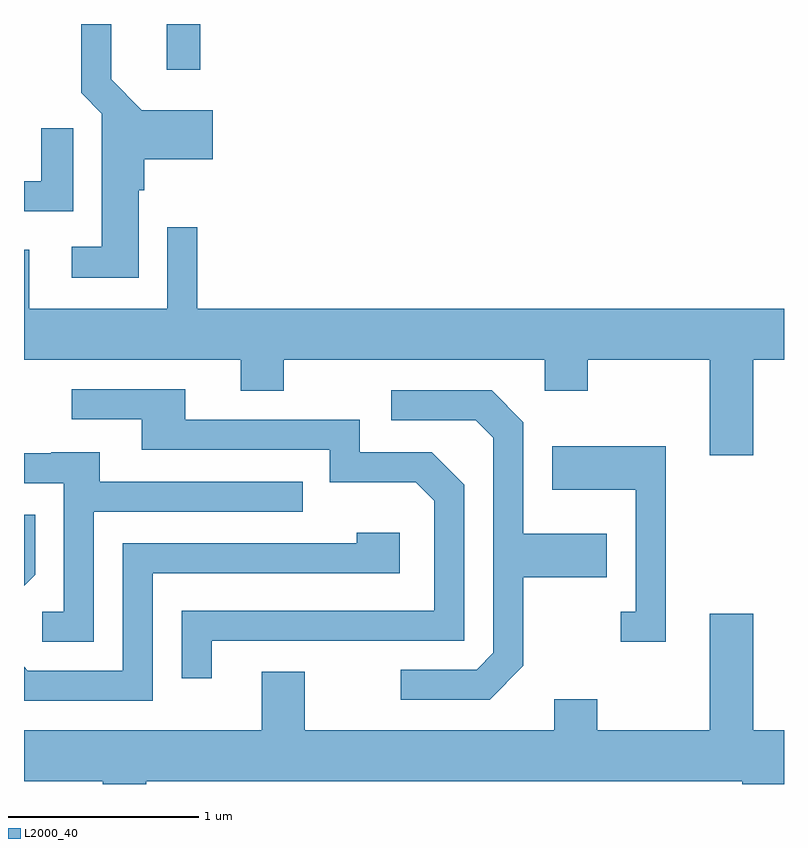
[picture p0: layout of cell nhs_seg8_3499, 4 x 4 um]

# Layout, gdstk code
import gdstk
lib = gdstk.Library(unit=1e-6, precision=1e-09)
def R(c, l, rs):  # rectangles x0, y0, x1, y1
    for r in rs: c.add(gdstk.rectangle(r[:2], r[2:], *l))
def P(c, l, *ps):  # polygons
    for p in ps: c.add(gdstk.Polygon(p, *l))
L2000_40 = (2000, 40)

nhs_seg8_3499 = lib.new_cell('nhs_seg8_3499')
R(nhs_seg8_3499, L2000_40, [(290.361,1900.101,290.539,1900.342)])
P(nhs_seg8_3499, L2000_40, [(290.214,1899.466),(290.244,1899.466),(290.244,1899.631),(290.604,1899.631),(290.604,1899.889),(290.232,1899.889),(290.069,1900.052),(290.069,1900.342),(289.911,1900.342),(289.911,1899.979),(290.021,1899.869),(290.021,1899.169),(289.863,1899.169),(289.863,1899.006),(290.214,1899.006)],
  [(289.869,1899.793),(289.701,1899.793),(289.701,1899.514),(289.611,1899.514),(289.611,1899.356),(289.869,1899.356)],
  [(293.449,1898.576),(293.611,1898.576),(293.611,1898.844),(290.524,1898.844),(290.524,1899.273),(290.366,1899.273),(290.366,1898.844),(289.639,1898.844),(289.639,1899.154),(289.611,1899.154),(289.611,1898.576),(290.751,1898.576),(290.751,1898.411),(290.979,1898.411),(290.979,1898.576),(292.351,1898.576),(292.351,1898.411),(292.579,1898.411),(292.579,1898.576),(293.221,1898.576),(293.221,1898.071),(293.449,1898.071)],
  [(290.599,1897.096),(291.929,1897.096),(291.929,1897.917),(291.757,1898.089),(291.379,1898.089),(291.379,1898.259),(290.459,1898.259),(290.459,1898.419),(289.863,1898.419),(289.863,1898.261),(290.231,1898.261),(290.231,1898.101),(291.221,1898.101),(291.221,1897.931),(291.674,1897.931),(291.771,1897.834),(291.771,1897.254),(290.441,1897.254),(290.441,1896.898),(290.599,1896.898)],
  [(292.239,1896.964),(292.239,1897.431),(292.679,1897.431),(292.679,1897.659),(292.239,1897.659),(292.239,1898.247),(292.072,1898.414),(291.543,1898.414),(291.543,1898.256),(291.989,1898.256),(292.081,1898.164),(292.081,1897.032),(291.994,1896.944),(291.593,1896.944),(291.593,1896.786),(292.062,1896.786)],
  [(292.989,1898.119),(292.391,1898.119),(292.391,1897.891),(292.831,1897.891),(292.831,1897.249),(292.753,1897.249),(292.753,1897.091),(292.989,1897.091)],
  [(289.979,1897.776),(291.078,1897.776),(291.078,1897.934),(290.009,1897.934),(290.009,1898.089),(289.755,1898.089),(289.755,1898.084),(289.611,1898.084),(289.611,1897.926),(289.821,1897.926),(289.821,1897.249),(289.708,1897.249),(289.708,1897.091),(289.979,1897.091)],
  [(289.669,1897.444),(289.669,1897.758),(289.611,1897.758),(289.611,1897.386)],
  [(290.289,1897.451),(291.589,1897.451),(291.589,1897.664),(291.361,1897.664),(291.361,1897.609),(290.131,1897.609),(290.131,1896.939),(289.632,1896.939),(289.611,1896.96),(289.611,1896.781),(290.289,1896.781)],
  [(290.254,1896.356),(293.391,1896.356),(293.391,1896.342),(293.611,1896.342),(293.611,1896.624),(293.449,1896.624),(293.449,1897.239),(293.221,1897.239),(293.221,1896.624),(292.629,1896.624),(292.629,1896.789),(292.401,1896.789),(292.401,1896.624),(291.089,1896.624),(291.089,1896.934),(290.861,1896.934),(290.861,1896.624),(289.611,1896.624),(289.611,1896.356),(290.026,1896.356),(290.026,1896.342),(290.254,1896.342)])

lib.write_gds('nhs_seg8_3499.gds')
